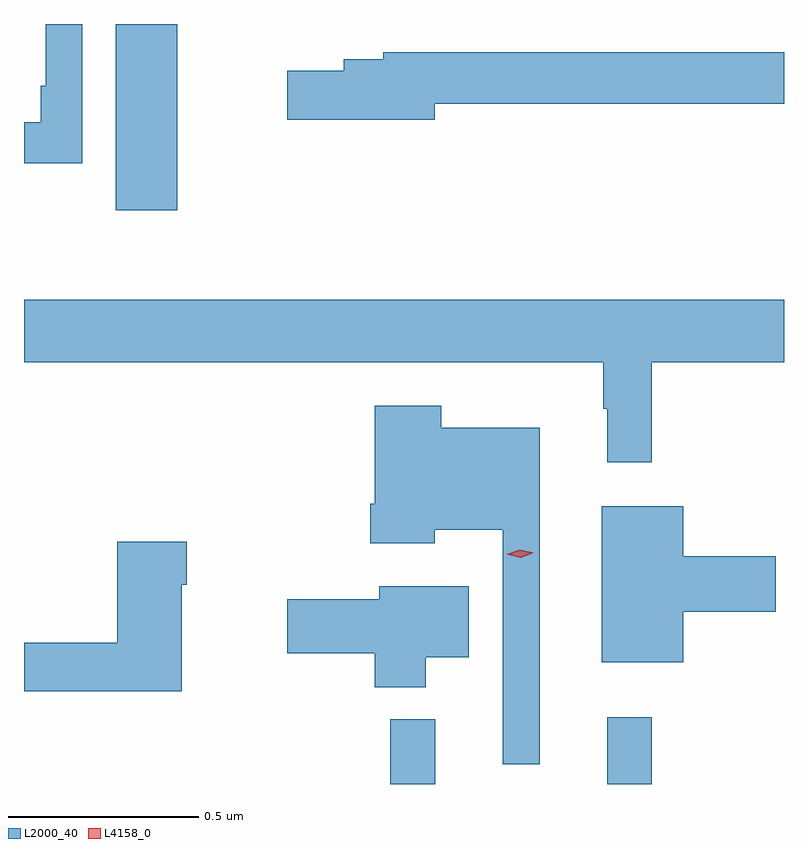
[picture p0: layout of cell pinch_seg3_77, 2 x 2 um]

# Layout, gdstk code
import gdstk
lib = gdstk.Library(unit=1e-6, precision=1e-09)
def R(c, l, rs):  # rectangles x0, y0, x1, y1
    for r in rs: c.add(gdstk.rectangle(r[:2], r[2:], *l))
def P(c, l, *ps):  # polygons
    for p in ps: c.add(gdstk.Polygon(p, *l))
L2000_40 = (2000, 40)
L4158_0 = (4158, 0)

pinch_seg3_77 = lib.new_cell('pinch_seg3_77')
R(pinch_seg3_77, L2000_40, [(1020.307,729.11,1020.425,729.28), (1020.878,729.11,1020.995,729.286), (1019.585,730.62,1019.746,731.11)])
P(pinch_seg3_77, L2000_40, [(1019.496,731.11),(1019.4,731.11),(1019.4,730.948),(1019.387,730.948),(1019.387,730.852),(1019.343,730.852),(1019.343,730.743),(1019.496,730.743)],
  [(1020.424,730.9),(1021.343,730.9),(1021.343,731.036),(1020.289,731.036),(1020.289,731.017),(1020.185,731.017),(1020.185,730.987),(1020.036,730.987),(1020.036,730.858),(1020.424,730.858)],
  [(1020.995,730.22),(1021.343,730.22),(1021.343,730.384),(1019.343,730.384),(1019.343,730.22),(1020.867,730.22),(1020.867,730.097),(1020.878,730.097),(1020.878,729.957),(1020.995,729.957)],
  [(1020.7,730.048),(1020.441,730.048),(1020.441,730.105),(1020.266,730.105),(1020.266,729.847),(1020.254,729.847),(1020.254,729.743),(1020.424,729.743),(1020.424,729.779),(1020.603,729.779),(1020.603,729.162),(1020.7,729.162)],
  [(1021.078,729.563),(1021.321,729.563),(1021.321,729.71),(1021.078,729.71),(1021.078,729.841),(1020.863,729.841),(1020.863,729.431),(1021.078,729.431)],
  [(1019.758,729.635),(1019.771,729.635),(1019.771,729.748),(1019.588,729.748),(1019.588,729.482),(1019.343,729.482),(1019.343,729.354),(1019.758,729.354)],
  [(1020.4,729.443),(1020.514,729.443),(1020.514,729.631),(1020.278,729.631),(1020.278,729.596),(1020.036,729.596),(1020.036,729.454),(1020.266,729.454),(1020.266,729.365),(1020.4,729.365)])
P(pinch_seg3_77, L4158_0, [(1020.65,729.706),(1020.613,729.714),(1020.613,729.715),(1020.613,729.715),(1020.648,729.726),(1020.684,729.718),(1020.685,729.718),(1020.684,729.718)])

lib.write_gds('pinch_seg3_77.gds')
